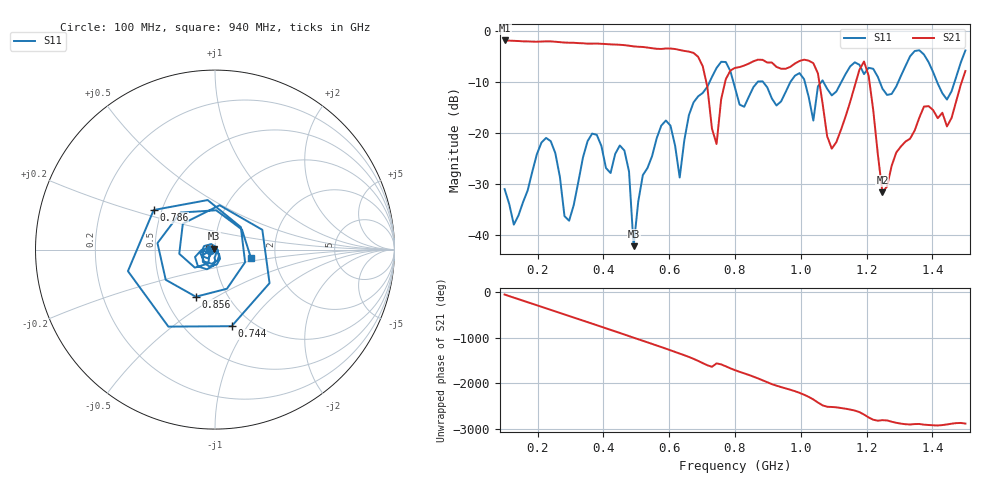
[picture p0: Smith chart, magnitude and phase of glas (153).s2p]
! NanoVNA-App
! Date: 2025-09-25 15:56:40
! Start: 100MHz Stop: 1,5GHz Points: 101
! S-Parameter data: F S11 S21 S12 S22
# Hz S RI R 50
!  Frequency  S11_Real  S11_Imag  S21_Real  S21_Imag  S12_Real  S12_Imag  S22_Real  S22_Imag
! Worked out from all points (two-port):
!   101 points, 100 MHz to 1.5 GHz, reference 50 ohm
!   highest |S21| = -1.80 dB at 100 MHz (marker M1); lowest = -31.6 dB at 1.248 GHz (marker M2)
!   |S21| within 3 dB of the highest: start of sweep to 684.2 MHz
!   lowest |S11| = -42.1 dB at 492 MHz (marker M3), VSWR 1.02, Z = 49.5 + j0.602 ohm
!   |S11| at or under -10 dB: start of sweep to 722.4 MHz; 795.3 MHz to 868 MHz (72.67 MHz wide, 8.74 % of centre); 886.1 MHz to 967.8 MHz (81.76 MHz wide, 8.82 % of centre)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
!   S12 and S22 are empty: the file has one direction only
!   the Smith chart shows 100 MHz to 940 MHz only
!   S11 on the Smith chart (normalised r, x): 100 MHz: 0.95, -0.01; 744 MHz: 0.81, -0.85; 786 MHz: 0.45, +0.24; 856 MHz: 0.71, -0.41; 940 MHz: 1.49, -0.14
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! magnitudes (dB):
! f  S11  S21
! 100 MHz  -31.0  -1.8
! 128 MHz  -37.9  -1.9
! 226 MHz  -20.9  -2.0
! 296 MHz  -37.2  -2.2
! 338 MHz  -24.8  -2.4
! 464 MHz  -23.4  -2.7
! 492 MHz  -42.1  -3.0
! 576 MHz  -18.5  -3.5
! 632 MHz  -28.7  -3.7
! 702 MHz  -12.1  -6.9
! 744 MHz  -7.2  -22.1
! 786 MHz  -7.8  -7.7
! 800 MHz  -11.1  -7.2
! 856 MHz  -11.0  -5.9
! 940 MHz  -13.8  -7.3
! 996 MHz  -8.2  -5.8
! 1.038 GHz  -17.5  -6.3
! 1.094 GHz  -12.6  -23.0
! 1.192 GHz  -8.4  -5.9
! 1.248 GHz  -11.3  -31.6
! 1.276 GHz  -12.3  -26.4
! 1.5 GHz  -3.8  -7.8
